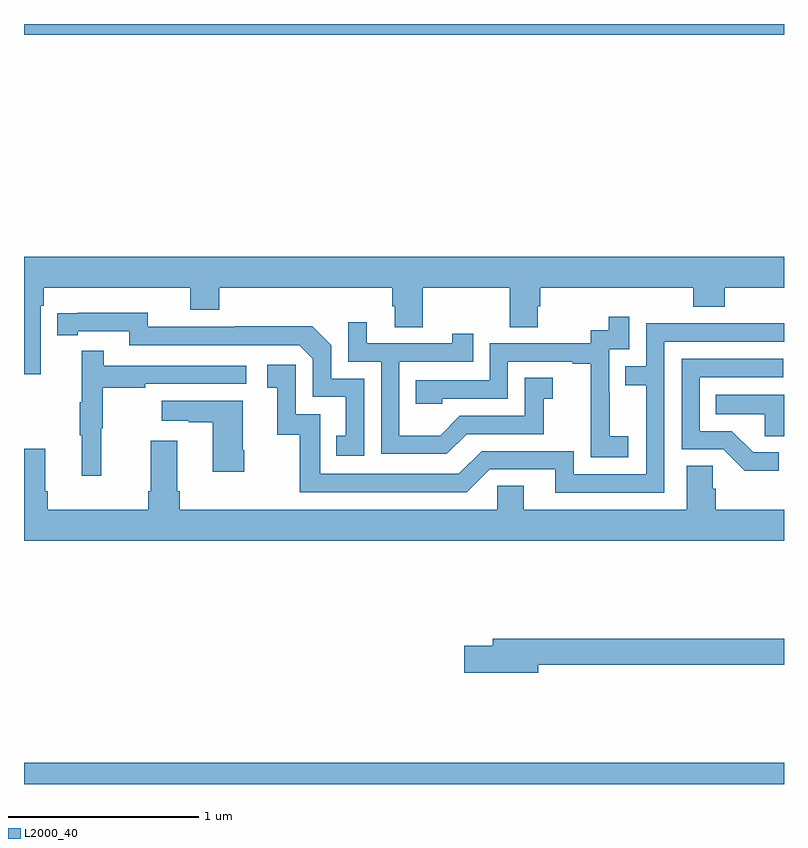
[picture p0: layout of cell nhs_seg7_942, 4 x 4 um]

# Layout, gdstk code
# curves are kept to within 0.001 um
import gdstk
lib = gdstk.Library(unit=1e-6, precision=1e-09)
def R(c, l, rs):  # rectangles x0, y0, x1, y1
    for r in rs: c.add(gdstk.rectangle(r[:2], r[2:], *l))
def P(c, l, *ps):  # polygons
    for p in ps: c.add(gdstk.Polygon(p, *l))
L2000_40 = (2000, 40)

nhs_seg7_942 = lib.new_cell('nhs_seg7_942')
R(nhs_seg7_942, L2000_40, [(181,1002,185,1002.112), (181,1005.944,185,1006)])
P(nhs_seg7_942, L2000_40, [(181.089,1004.516),(181.103,1004.516),(181.103,1004.612),(181.874,1004.612),(181.874,1004.495),(182.027,1004.495),(182.027,1004.612),(182.939,1004.612),(182.939,1004.514),(182.951,1004.514),(182.951,1004.404),(183.099,1004.404),(183.099,1004.612),(183.556,1004.612),(183.556,1004.404),(183.703,1004.404),(183.703,1004.514),(183.716,1004.514),(183.716,1004.612),(184.523,1004.612),(184.523,1004.513),(184.688,1004.513),(184.688,1004.612),(185,1004.612),(185,1004.776),(181,1004.776),(181,1004.157),(181.089,1004.157)],
  [(182.79,1004.133),(182.616,1004.133),(182.616,1004.31),(182.518,1004.408),(182.11,1004.408),(182.11,1004.406),(181.65,1004.406),(181.65,1004.479),(181.174,1004.478),(181.174,1004.362),(181.282,1004.362),(181.282,1004.382),(181.554,1004.382),(181.554,1004.31),(182.448,1004.31),(182.52,1004.238),(182.52,1004.037),(182.693,1004.037),(182.693,1003.833),(182.644,1003.833),(182.644,1003.728),(182.79,1003.728)],
  [(184.18,1003.831),(184.082,1003.831),(184.082,1004.06),(184.08,1004.06),(184.08,1004.289),(184.185,1004.289),(184.185,1004.458),(184.077,1004.458),(184.077,1004.388),(183.984,1004.388),(183.984,1004.319),(183.45,1004.319),(183.45,1004.124),(183.061,1004.124),(183.061,1004.001),(183.201,1004.001),(183.201,1004.028),(183.546,1004.028),(183.546,1004.223),(183.887,1004.223),(183.887,1004.211),(183.983,1004.211),(183.983,1003.927),(183.982,1003.927),(183.982,1003.721),(184.18,1003.721)],
  [(183.331,1003.842),(183.735,1003.842),(183.735,1004.027),(183.784,1004.027),(183.784,1004.137),(183.636,1004.137),(183.636,1003.938),(183.294,1003.938),(183.19,1003.834),(182.976,1003.834),(182.976,1004.223),(183.365,1004.223),(183.365,1004.371),(183.254,1004.371),(183.254,1004.319),(182.803,1004.319),(182.803,1004.431),(182.706,1004.431),(182.706,1004.223),(182.88,1004.223),(182.88,1003.737),(183.226,1003.737)],
  [(184.371,1004.328),(185,1004.328),(185,1004.426),(184.771,1004.426),(184.771,1004.424),(184.275,1004.424),(184.275,1004.199),(184.165,1004.199),(184.165,1004.098),(184.275,1004.098),(184.275,1003.629),(183.894,1003.629),(183.894,1003.752),(183.408,1003.752),(183.288,1003.632),(182.559,1003.632),(182.559,1003.947),(182.43,1003.947),(182.43,1004.206),(182.28,1004.206),(182.28,1004.085),(182.333,1004.085),(182.333,1003.839),(182.451,1003.839),(182.451,1003.536),(183.33,1003.536),(183.45,1003.656),(183.797,1003.656),(183.797,1003.533),(184.371,1003.533)],
  [(181.406,1003.872),(181.414,1003.872),(181.414,1004.086),(181.637,1004.086),(181.637,1004.106),(182.17,1004.106),(182.17,1004.202),(181.421,1004.202),(181.421,1004.281),(181.304,1004.281),(181.304,1004.009),(181.293,1004.009),(181.293,1003.835),(181.304,1003.835),(181.304,1003.623),(181.406,1003.623)],
  [(184.972,1003.746),(184.837,1003.746),(184.726,1003.857),(184.557,1003.857),(184.557,1004.142),(184.996,1004.142),(184.996,1004.238),(184.461,1004.238),(184.461,1003.761),(184.68,1003.761),(184.793,1003.649),(184.972,1003.649)],
  [(185,1004.05),(184.642,1004.05),(184.642,1003.946),(184.899,1003.946),(184.899,1003.831),(185,1003.831)],
  [(182.16,1003.756),(182.152,1003.756),(182.152,1004.017),(181.725,1004.017),(181.725,1003.913),(181.868,1003.913),(181.868,1003.903),(181.994,1003.903),(181.994,1003.644),(182.16,1003.644)],
  [(184.487,1003.676),(184.487,1003.444),(183.631,1003.444),(183.631,1003.571),(183.492,1003.571),(183.492,1003.444),(181.82,1003.444),(181.82,1003.54),(181.807,1003.54),(181.807,1003.807),(181.667,1003.807),(181.667,1003.54),(181.655,1003.54),(181.655,1003.444),(181.124,1003.444),(181.124,1003.54),(181.111,1003.54),(181.111,1003.765),(181,1003.765),(181,1003.28),(185,1003.28),(185,1003.444),(184.64,1003.444),(184.64,1003.553),(184.626,1003.553),(184.626,1003.676)],
  [(183.706,1002.628),(185,1002.628),(185,1002.764),(183.467,1002.764),(183.467,1002.728),(183.318,1002.728),(183.318,1002.586),(183.706,1002.586)])

lib.write_gds('nhs_seg7_942.gds')
